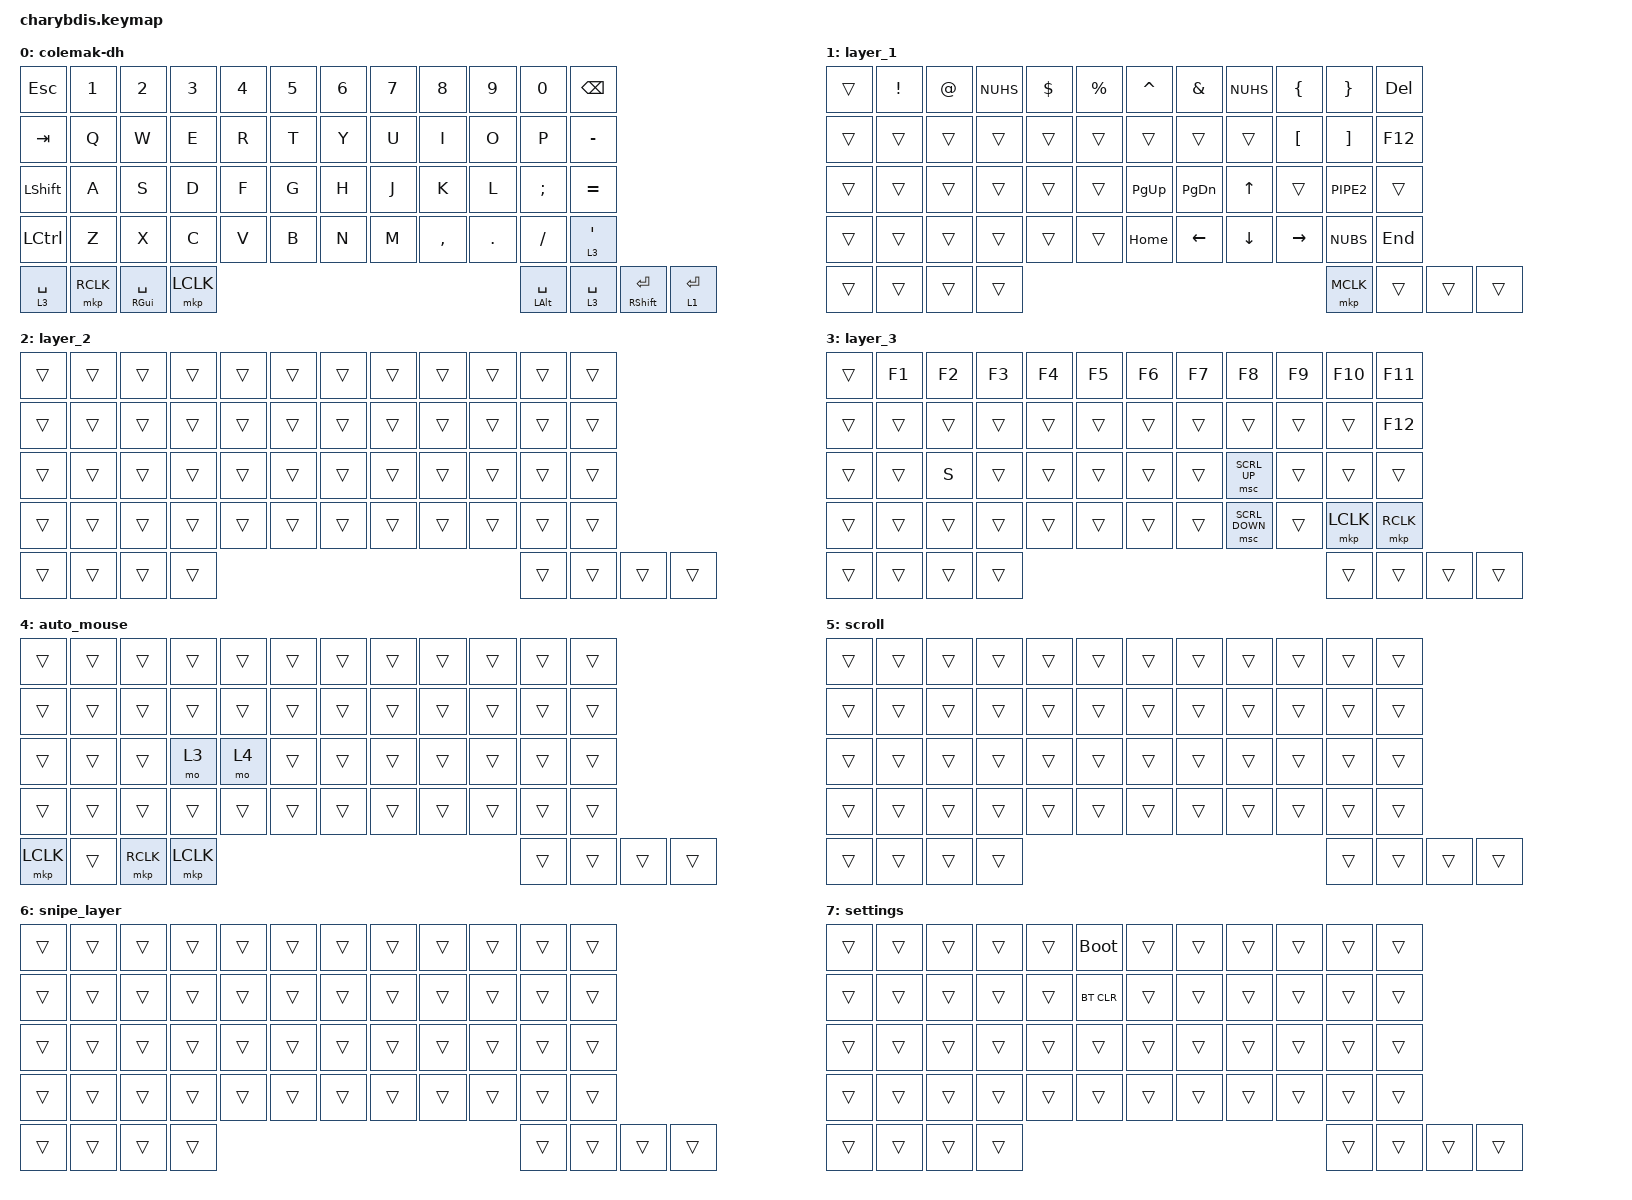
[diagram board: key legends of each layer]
#include <behaviors/mouse_keys.dtsi>
#include <dt-bindings/zmk/mouse.h>
#include <behaviors.dtsi>
#include <dt-bindings/zmk/bt.h>
#include <dt-bindings/zmk/keys.h>
#include <dt-bindings/zmk/pointing.h>

/ {
    behaviors {
        hml: homewrow_mods_left {
            compatible = "zmk,behavior-hold-tap";
            label = "homewrow_mods_left";
            bindings = <&kp>, <&kp>;

            #binding-cells = <2>;
            hold-trigger-key-positions = <6 7 8 9 10 11 18 19 20 21 22 23 30 31 32 33 34 35 42 43 44 45 46 47 53 54 55 56 57>;
            tapping-term-ms = <300>;
            flavor = "balanced";
            quick-tap-ms = <175>;
            require-prior-idle-ms = <250>;
            hold-trigger-on-release;
        };

        hmr: hmr {
            compatible = "zmk,behavior-hold-tap";
            label = "HMR";
            bindings = <&kp>, <&kp>;

            #binding-cells = <2>;
            tapping-term-ms = <300>;
            hold-trigger-key-positions = <0 1 12 13 14 15 16 17 24 25 26 27 28 29 36 37 38 39 40 41 48 49 50 51 52 2 3 4 5>;
            flavor = "balanced";
            quick-tap-ms = <175>;
            require-prior-idle-ms = <250>;
            hold-trigger-on-release;
        };

        tap_preferred: tap_preferred {
            compatible = "zmk,behavior-hold-tap";
            label = "TAP_PREFERRED";
            bindings = <&mo>, <&kp>;

            #binding-cells = <2>;
            tapping-term-ms = <40>;
            flavor = "tap-preferred";
        };
    };



    keymap {
        compatible = "zmk,keymap";

        colemak-dh {
            bindings = <
&kp ESC    &kp N1  &kp N2     &kp N3     &kp N4          &kp N5          &kp N6  &kp N7  &kp N8     &kp N9    &kp N0    &kp BSPC
&kp TAB    &kp Q   &kp W      &kp E      &kp R           &kp T           &kp Y   &kp U   &kp I      &kp O     &kp P     &kp MINUS
&kp LSHIFT  &kp A   &kp S      &kp D      &kp F           &kp G           &kp H   &kp J   &kp K      &kp L     &kp SEMI  &kp EQUAL
&kp LCTRL  &kp Z   &kp X      &kp C      &kp V           &kp B           &kp N   &kp M   &kp COMMA  &kp DOT   &kp FSLH  &lt 3 SQT
&lt 3 SPACE  &mkp RCLK        &mt RGUI SPACE  &mkp LCLK   &mt LEFT_ALT SPACE                                  &lt 3 SPACE  &mt RSHIFT ENTER &lt 1 ENTER





            >;
        };

       layer_1 {
            bindings = <
&trans  &kp EXCLAMATION  &kp AT_SIGN  &kp NUHS  &kp DOLLAR  &kp PERCENT          &kp CARET    &kp AMPERSAND    &kp NUHS  &kp LBRC   &kp RBRC  &kp DEL
&trans  &trans  &trans  &trans  &trans  &trans          &trans    &trans    &trans    &kp LBKT    &kp RBKT   &kp F12
&trans  &trans  &trans  &trans  &trans  &trans          &kp PG_UP &kp PG_DN &kp UP    &trans     &kp PIPE2    &trans
&trans  &trans  &trans  &trans  &trans  &trans          &kp HOME  &kp LEFT  &kp DOWN  &kp RIGHT  &kp NUBS  &kp END
&trans  &trans  &trans  &trans  &mkp MCLK                                                &trans     &trans    &trans
            >;
        };

        layer_2 {
            bindings = <
&trans  &trans  &trans  &trans  &trans  &trans         &trans  &trans  &trans  &trans  &trans   &trans
&trans  &trans  &trans  &trans  &trans  &trans          &trans    &trans    &trans    &trans     &trans   &trans
&trans  &trans  &trans  &trans  &trans  &trans          &trans  &trans  &trans  &trans  &trans  &trans
&trans  &trans  &trans  &trans  &trans  &trans          &trans  &trans  &trans  &trans  &trans  &trans
&trans  &trans  &trans  &trans  &trans                                                &trans     &trans   &trans
            >;
        };        

        layer_3 {
            bindings = <
&trans  &kp F1  &kp F2  &kp F3  &kp F4  &kp F5          &kp F6    &kp F7    &kp F8    &kp F9     &kp F10  &kp F11
&trans  &trans  &trans  &trans  &trans  &trans          &trans    &trans    &trans    &trans     &trans   &kp F12
&trans  &trans  &kp S  &trans  &trans  &trans          &trans  &trans  &msc SCRL_UP  &trans  &trans  &trans
&trans  &trans  &trans  &trans  &trans  &trans          &trans  &trans  &msc SCRL_DOWN  &trans  &mkp LCLK  &mkp RCLK
&trans  &trans  &trans  &trans  &trans                                                &trans     &trans   &trans
            >;
        };

        auto_mouse {
            bindings = <
&trans     &trans     &trans          &trans     &trans        &trans          &trans  &trans  &trans  &trans  &trans  &trans
&trans     &trans     &trans          &trans     &trans        &trans          &trans  &trans  &trans  &trans  &trans  &trans
&trans     &trans     &trans          &mo 3      &mo 4         &trans          &trans  &trans  &trans  &trans  &trans  &trans
&trans     &trans     &trans          &trans     &trans        &trans          &trans  &trans  &trans  &trans  &trans  &trans
&mkp LCLK  &trans &mkp RCLK &mkp LCLK &trans                                          &trans  &trans  &trans
            >;
        };

        scroll {
            bindings = <
&trans  &trans  &trans  &trans  &trans  &trans      &trans  &trans  &trans  &trans  &trans  &trans
&trans  &trans  &trans  &trans  &trans  &trans      &trans  &trans  &trans  &trans  &trans  &trans
&trans  &trans  &trans  &trans  &trans  &trans      &trans  &trans  &trans  &trans  &trans  &trans
&trans  &trans  &trans  &trans  &trans  &trans      &trans  &trans  &trans  &trans  &trans  &trans
&trans  &trans  &trans  &trans  &trans                      &trans  &trans  &trans
            >;
        };

        snipe_layer {
            bindings = <
&trans  &trans  &trans  &trans  &trans  &trans      &trans  &trans  &trans  &trans  &trans  &trans
&trans  &trans  &trans  &trans  &trans  &trans      &trans  &trans  &trans  &trans  &trans  &trans
&trans  &trans  &trans  &trans  &trans  &trans      &trans  &trans  &trans  &trans  &trans  &trans
&trans  &trans  &trans  &trans  &trans  &trans      &trans  &trans  &trans  &trans  &trans  &trans
&trans  &trans  &trans  &trans  &trans                      &trans  &trans  &trans
            >;
        };



        settings {
            bindings = <
&trans  &trans  &trans  &trans  &trans  &bootloader      &trans  &trans  &trans  &trans  &trans  &trans
&trans  &trans  &trans  &trans  &trans  &bt BT_CLR       &trans  &trans  &trans  &trans  &trans  &trans
&trans  &trans  &trans  &trans  &trans  &trans           &trans  &trans  &trans  &trans  &trans  &trans
&trans  &trans  &trans  &trans  &trans  &trans           &trans  &trans  &trans  &trans  &trans  &trans
&trans  &trans  &trans  &trans  &trans                           &trans  &trans  &trans
            >;
        };




    };
};
